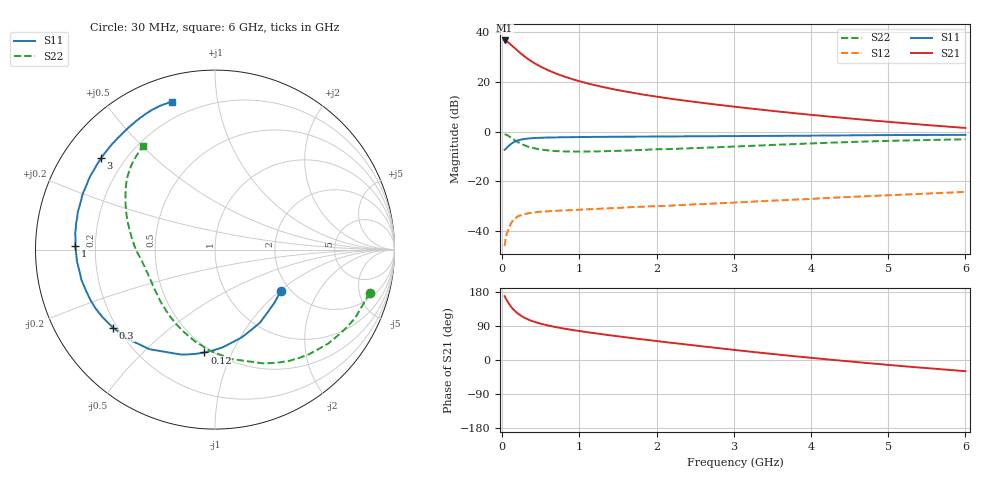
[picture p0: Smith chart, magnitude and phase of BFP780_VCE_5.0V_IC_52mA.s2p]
! (c) 2015  Infineon Technologies AG, Munich
! Infineon Technologies  Discrete & RF Semiconductors
! BFP780
! VCE =  5.0 V,  IC =  52 mA
! Common Emitter S-Parameters:  Jul 2015
# GHz  S  MA  R  50
!  f  S11  S21  S12  S22
! GHz  MAG  ANG  MAG  ANG  MAG  ANG  MAG  ANG
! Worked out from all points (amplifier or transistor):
!   75 points, 30 MHz to 6 GHz, reference 50 ohm
!   highest |S21| = 36.6 dB at 30 MHz (marker M1)
!   |S21| within 3 dB of that: start of sweep to 158.4 MHz
!   unconditionally stable (mu >= 1): 1.896 GHz to end of sweep
!   at 150 MHz: K = 0.19, MSG = 34.6 dB, |S12| = -35.4 dB
!   at 2.3 GHz: K = 1.11, MAG = 19.1 dB, |S12| = -29.5 dB
!   at 6 GHz: K = 1.20, MAG = 10.1 dB, |S12| = -24.2 dB
!   S11 on the Smith chart (normalised r, x): 30 MHz: 1.80, -1.01; 120 MHz: 0.46, -0.79; 300 MHz: 0.18, -0.33; 1 GHz: 0.12, +0.01; 3 GHz: 0.12, +0.35; 6 GHz: 0.12, +0.75
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0.03  0.4325 -31.9  67.84 168.4  0.005 49.3  0.8944 -15.7
0.05  0.4573 -50.5  65.71 160.7  0.0079 54.6  0.869 -25.9
0.07  0.4916 -66.0  62.9 153.8  0.0099 56.6  0.8345 -35.2
0.09  0.5265 -79.7  59.61 147.4  0.0126 52.3  0.799 -44.1
0.12  0.5763 -95.9  54.38 139.1  0.0149 48.4  0.7454 -56.2
0.15  0.6152 -108.3  49.35 132.2  0.017 43.0  0.6919 -66.5
0.2  0.6646 -123.4  41.96 122.9  0.0199 38.1  0.6183 -81.0
0.25  0.6947 -134.2  36.1 115.8  0.0211 33.9  0.5651 -92.7
0.3  0.7152 -142.4  31.35 110.2  0.0222 28.8  0.5223 -102.5
0.35  0.7305 -148.7  27.61 105.6  0.0231 28.3  0.4909 -110.6
0.4  0.7414 -153.6  24.6 101.8  0.0235 25.6  0.4681 -117.4
0.5  0.7527 -161.3  20.12 95.7  0.0246 23.7  0.4366 -128.2
0.7  0.7656 -171.6  14.61 86.5  0.0257 21.5  0.4063 -143.3
1  0.7789 178.4  10.29 76.4  0.027 21.1  0.3979 -157.1
1.1  0.779 175.8  9.341 73.4  0.0275 21.4  0.3974 -160.6
1.5  0.7881 166.9  6.823 62.6  0.0293 22.1  0.4108 -170.7
2.1  0.8 155.9  4.781 47.6  0.0322 23.7  0.4441 178.9
3  0.8135 141.3  3.18 26.7  0.0375 24.6  0.5012 164.2
3.1  0.8151 139.8  3.052 24.5  0.0382 24.9  0.509 162.6
4.1  0.8324 125.7  2.103 3.8  0.0455 23.6  0.5867 148.3
5.1  0.854 114.3  1.528 -14.6  0.0535 20.3  0.6564 135.8
6  0.8585 106.1  1.186 -29.5  0.0616 15.3  0.7018 124.8
